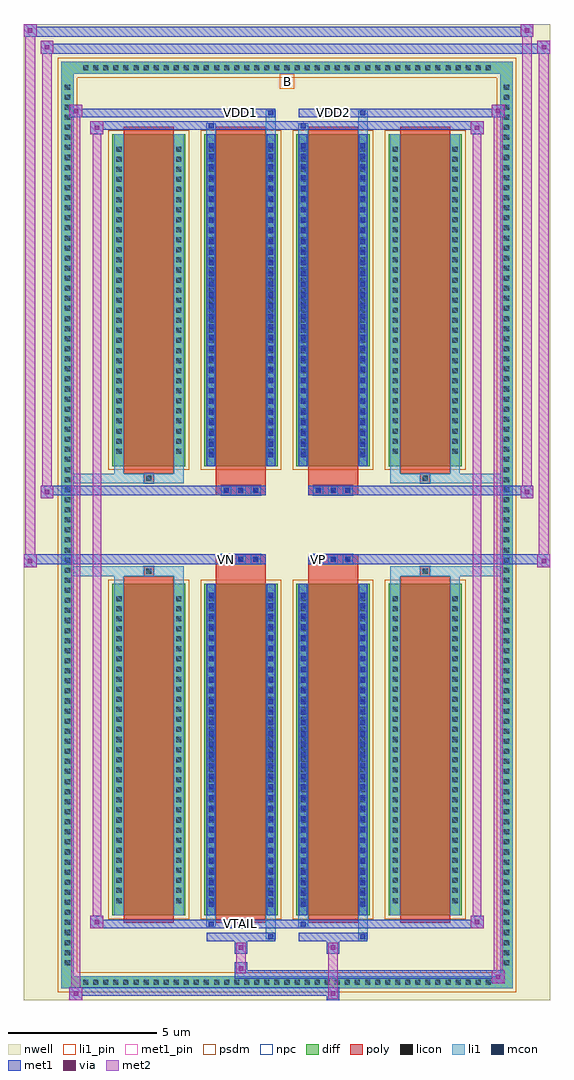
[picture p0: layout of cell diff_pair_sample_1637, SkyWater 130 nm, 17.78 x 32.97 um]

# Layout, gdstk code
import gdstk
lib = gdstk.Library(unit=1e-6, precision=5e-09)
def R(c, l, rs):  # rectangles x0, y0, x1, y1
    for r in rs: c.add(gdstk.rectangle(r[:2], r[2:], *l))
def A(c, l, x, y, w, h, nx, ny, dx, dy):  # array of equal rectangles
    R(c, l, [(x+i*dx, y+j*dy, x+i*dx+w, y+j*dy+h) for i in range(nx) for j in range(ny)])
def P(c, l, *ps):  # polygons
    for p in ps: c.add(gdstk.Polygon(p, *l))
nwell = (64, 20)
diff = (65, 20)
poly = (66, 20)
licon = (66, 44)
li1_pin = (67, 16)
li1 = (67, 20)
mcon = (67, 44)
met1_pin = (68, 16)
met1 = (68, 20)
via = (68, 44)
met2 = (69, 20)
psdm = (94, 20)
npc = (95, 20)

diff_pair_sample_1637 = lib.new_cell('diff_pair_sample_1637')
R(diff_pair_sample_1637, nwell, [(-8.89,-16.05,8.89,16.92), (-6.21,-14.24,-0.01,-0.8), (0.01,-14.24,6.21,-0.8), (-6.21,0.8,-0.01,14.24), (0.01,0.8,6.21,14.24)])
A(diff_pair_sample_1637, diff, -7.005, -15.65, 0.41, 0.41, 41, 2, 0.34, 30.89)
A(diff_pair_sample_1637, diff, -7.62, -14.995, 0.41, 0.41, 1, 88, 0, 0.34)
A(diff_pair_sample_1637, diff, 7.21, -14.995, 0.41, 0.41, 1, 88, 0, 0.34)
A(diff_pair_sample_1637, diff, -5.9, -13.195, 2.47, 11.21, 4, 2, 3.11, 15.18)
R(diff_pair_sample_1637, diff, [(-7.005,-15.65,7.005,-15.24), (-7.62,-14.995,-7.21,14.995), (7.21,-14.995,7.62,14.995), (-7.005,15.24,7.005,15.65)])
P(diff_pair_sample_1637, diff, [(7.62,15.65),(-7.62,15.65),(-7.62,-15.24),(-7.21,-15.24),(-7.21,15.24),(7.21,15.24),(7.21,-15.24),(-7.21,-15.24),(-7.62,-15.24),(-7.62,-15.65),(7.62,-15.65)])
A(diff_pair_sample_1637, poly, -5.51, -13.445, 1.69, 11.71, 4, 2, 3.11, 15.18)
A(diff_pair_sample_1637, poly, -2.22, -1.33, 0.33, 0.33, 3, 2, 0.5, 2.33)
A(diff_pair_sample_1637, poly, 0.89, -1.33, 0.33, 0.33, 3, 2, 0.5, 2.33)
R(diff_pair_sample_1637, poly, [(-4.83,-1.735,-4.5,-1.405), (-4.83,-1.735,-4.5,-1.405), (-2.4,-1.735,-0.71,-1.33), (0.71,-1.735,2.4,-1.33), (4.5,-1.735,4.83,-1.405), (4.5,-1.735,4.83,-1.405), (-2.4,-1.33,-0.71,-1), (0.71,-1.33,2.4,-1), (-2.4,1,-0.71,1.33), (0.71,1,2.4,1.33), (-2.4,1.33,-0.71,1.735), (0.71,1.33,2.4,1.735), (-4.83,1.405,-4.5,1.735), (-4.83,1.405,-4.5,1.735), (4.5,1.405,4.83,1.735), (4.5,1.405,4.83,1.735)])
A(diff_pair_sample_1637, licon, -6.885, -15.53, 0.17, 0.17, 41, 2, 0.34, 30.89)
A(diff_pair_sample_1637, licon, -7.5, -14.875, 0.17, 0.17, 1, 88, 0, 0.34)
A(diff_pair_sample_1637, licon, 7.33, -14.875, 0.17, 0.17, 1, 88, 0, 0.34)
A(diff_pair_sample_1637, licon, -5.76, -12.775, 0.17, 0.17, 1, 31, 0, 0.34)
A(diff_pair_sample_1637, licon, -3.74, -12.775, 0.17, 0.17, 1, 31, 0, 0.34)
A(diff_pair_sample_1637, licon, -2.65, -12.775, 0.17, 0.17, 1, 31, 0, 0.34)
A(diff_pair_sample_1637, licon, -0.63, -12.775, 0.17, 0.17, 1, 31, 0, 0.34)
A(diff_pair_sample_1637, licon, 0.46, -12.775, 0.17, 0.17, 1, 31, 0, 0.34)
A(diff_pair_sample_1637, licon, 2.48, -12.775, 0.17, 0.17, 1, 31, 0, 0.34)
A(diff_pair_sample_1637, licon, 3.57, -12.775, 0.17, 0.17, 1, 31, 0, 0.34)
A(diff_pair_sample_1637, licon, 5.59, -12.775, 0.17, 0.17, 1, 31, 0, 0.34)
A(diff_pair_sample_1637, licon, -2.14, -1.25, 0.17, 0.17, 3, 2, 0.5, 2.33)
A(diff_pair_sample_1637, licon, 0.97, -1.25, 0.17, 0.17, 3, 2, 0.5, 2.33)
A(diff_pair_sample_1637, licon, -5.76, 2.405, 0.17, 0.17, 1, 31, 0, 0.34)
A(diff_pair_sample_1637, licon, -3.74, 2.405, 0.17, 0.17, 1, 31, 0, 0.34)
A(diff_pair_sample_1637, licon, -2.65, 2.405, 0.17, 0.17, 1, 31, 0, 0.34)
A(diff_pair_sample_1637, licon, -0.63, 2.405, 0.17, 0.17, 1, 31, 0, 0.34)
A(diff_pair_sample_1637, licon, 0.46, 2.405, 0.17, 0.17, 1, 31, 0, 0.34)
A(diff_pair_sample_1637, licon, 2.48, 2.405, 0.17, 0.17, 1, 31, 0, 0.34)
A(diff_pair_sample_1637, licon, 3.57, 2.405, 0.17, 0.17, 1, 31, 0, 0.34)
A(diff_pair_sample_1637, licon, 5.59, 2.405, 0.17, 0.17, 1, 31, 0, 0.34)
R(diff_pair_sample_1637, licon, [(-4.75,-1.655,-4.58,-1.485), (4.58,-1.655,4.75,-1.485), (-4.75,1.485,-4.58,1.655), (4.58,1.485,4.75,1.655)])
R(diff_pair_sample_1637, li1_pin, [(-0.25,14.74,0.25,15.24)])
A(diff_pair_sample_1637, li1, -6.965, -15.61, 0.33, 0.33, 41, 2, 0.34, 30.89)
A(diff_pair_sample_1637, li1, -7.58, -14.955, 0.33, 0.33, 1, 88, 0, 0.34)
A(diff_pair_sample_1637, li1, 7.25, -14.955, 0.33, 0.33, 1, 88, 0, 0.34)
A(diff_pair_sample_1637, li1, -2.65, -12.895, 0.17, 0.17, 1, 30, 0, 0.36)
A(diff_pair_sample_1637, li1, -0.63, -12.895, 0.17, 0.17, 1, 30, 0, 0.36)
A(diff_pair_sample_1637, li1, 0.46, -12.895, 0.17, 0.17, 1, 30, 0, 0.36)
A(diff_pair_sample_1637, li1, 2.48, -12.895, 0.17, 0.17, 1, 30, 0, 0.36)
A(diff_pair_sample_1637, li1, -5.84, -12.855, 0.33, 0.33, 1, 31, 0, 0.34)
A(diff_pair_sample_1637, li1, -3.82, -12.855, 0.33, 0.33, 1, 31, 0, 0.34)
A(diff_pair_sample_1637, li1, -2.73, -12.855, 0.33, 0.33, 1, 31, 0, 0.34)
A(diff_pair_sample_1637, li1, -0.71, -12.855, 0.33, 0.33, 1, 31, 0, 0.34)
A(diff_pair_sample_1637, li1, 0.38, -12.855, 0.33, 0.33, 1, 31, 0, 0.34)
A(diff_pair_sample_1637, li1, 2.4, -12.855, 0.33, 0.33, 1, 31, 0, 0.34)
A(diff_pair_sample_1637, li1, 3.49, -12.855, 0.33, 0.33, 1, 31, 0, 0.34)
A(diff_pair_sample_1637, li1, 5.51, -12.855, 0.33, 0.33, 1, 31, 0, 0.34)
A(diff_pair_sample_1637, li1, -2.22, -1.33, 0.33, 0.33, 3, 2, 0.5, 2.33)
A(diff_pair_sample_1637, li1, 0.89, -1.33, 0.33, 0.33, 3, 2, 0.5, 2.33)
A(diff_pair_sample_1637, li1, -2.65, 2.285, 0.17, 0.17, 1, 30, 0, 0.36)
A(diff_pair_sample_1637, li1, -0.63, 2.285, 0.17, 0.17, 1, 30, 0, 0.36)
A(diff_pair_sample_1637, li1, 0.46, 2.285, 0.17, 0.17, 1, 30, 0, 0.36)
A(diff_pair_sample_1637, li1, 2.48, 2.285, 0.17, 0.17, 1, 30, 0, 0.36)
A(diff_pair_sample_1637, li1, -5.84, 2.325, 0.33, 0.33, 1, 31, 0, 0.34)
A(diff_pair_sample_1637, li1, -3.82, 2.325, 0.33, 0.33, 1, 31, 0, 0.34)
A(diff_pair_sample_1637, li1, -2.73, 2.325, 0.33, 0.33, 1, 31, 0, 0.34)
A(diff_pair_sample_1637, li1, -0.71, 2.325, 0.33, 0.33, 1, 31, 0, 0.34)
A(diff_pair_sample_1637, li1, 0.38, 2.325, 0.33, 0.33, 1, 31, 0, 0.34)
A(diff_pair_sample_1637, li1, 2.4, 2.325, 0.33, 0.33, 1, 31, 0, 0.34)
A(diff_pair_sample_1637, li1, 3.49, 2.325, 0.33, 0.33, 1, 31, 0, 0.34)
A(diff_pair_sample_1637, li1, 5.51, 2.325, 0.33, 0.33, 1, 31, 0, 0.34)
R(diff_pair_sample_1637, li1, [(-7.62,-15.65,-7.21,-15.24), (-7.62,-15.65,-7.21,-15.24), (-7.21,-15.65,7.21,-15.24), (7.21,-15.65,7.62,-15.24), (7.21,-15.65,7.62,-15.24), (-7.62,-15.24,-7.21,15.24), (7.21,-15.24,7.62,15.24), (-0.71,-14,-0.38,-13.195), (-0.63,-14,-0.46,-13.83), (2.4,-14,2.73,-13.195), (2.48,-14,2.65,-13.83), (-2.73,-13.57,-2.4,-13.195), (-2.65,-13.57,-2.48,-13.4), (0.38,-13.57,0.71,-13.195), (0.46,-13.57,0.63,-13.4), (-5.84,-13.195,-5.51,-1.985), (-3.82,-13.195,-3.49,-1.985), (-2.73,-13.195,-2.4,-1.985), (-0.71,-13.195,-0.38,-1.985), (0.38,-13.195,0.71,-1.985), (2.4,-13.195,2.73,-1.985), (3.49,-13.195,3.82,-1.985), (5.51,-13.195,5.84,-1.985), (-2.65,-12.895,-2.48,-2.285), (-0.63,-12.895,-0.46,-2.285), (0.46,-12.895,0.63,-2.285), (2.48,-12.895,2.65,-2.285), (-5.84,-1.985,-5.51,-1.405), (-3.82,-1.985,-3.49,-1.405), (3.49,-1.985,3.82,-1.405), (5.51,-1.985,5.84,-1.405), (-7.62,-1.735,-4.83,-1.405), (-5.84,-1.735,-4.83,-1.405), (-4.83,-1.735,-4.5,-1.405), (-4.5,-1.735,-3.49,-1.405), (3.49,-1.735,4.5,-1.405), (4.5,-1.735,4.83,-1.405), (4.5,-1.735,7.62,-1.405), (4.83,-1.735,5.84,-1.405), (-7.62,1.405,-4.83,1.735), (-5.84,1.405,-4.83,1.735), (-5.84,1.405,-5.51,1.985), (-4.83,1.405,-4.5,1.735), (-4.5,1.405,-3.49,1.735), (-3.82,1.405,-3.49,1.985), (3.49,1.405,4.5,1.735), (3.49,1.405,3.82,1.985), (4.5,1.405,4.83,1.735), (4.5,1.405,7.62,1.735), (4.83,1.405,5.84,1.735), (5.51,1.405,5.84,1.985), (-5.84,1.985,-5.51,13.195), (-3.82,1.985,-3.49,13.195), (-2.73,1.985,-2.4,13.195), (-0.71,1.985,-0.38,13.195), (0.38,1.985,0.71,13.195), (2.4,1.985,2.73,13.195), (3.49,1.985,3.82,13.195), (5.51,1.985,5.84,13.195), (-2.65,2.285,-2.48,12.895), (-0.63,2.285,-0.46,12.895), (0.46,2.285,0.63,12.895), (2.48,2.285,2.65,12.895), (-2.73,13.195,-2.4,13.57), (-0.71,13.195,-0.38,14), (0.38,13.195,0.71,13.57), (2.4,13.195,2.73,14), (-2.65,13.4,-2.48,13.57), (0.46,13.4,0.63,13.57), (-0.63,13.83,-0.46,14), (2.48,13.83,2.65,14), (-7.62,15.24,-7.21,15.65), (-7.62,15.24,-7.21,15.65), (-7.21,15.24,7.21,15.65), (7.21,15.24,7.62,15.65), (7.21,15.24,7.62,15.65)])
A(diff_pair_sample_1637, mcon, -2.65, -12.895, 0.17, 0.17, 1, 30, 0, 0.36)
A(diff_pair_sample_1637, mcon, -0.63, -12.895, 0.17, 0.17, 1, 30, 0, 0.36)
A(diff_pair_sample_1637, mcon, 0.46, -12.895, 0.17, 0.17, 1, 30, 0, 0.36)
A(diff_pair_sample_1637, mcon, 2.48, -12.895, 0.17, 0.17, 1, 30, 0, 0.36)
A(diff_pair_sample_1637, mcon, -2.14, -1.25, 0.17, 0.17, 3, 2, 0.5, 2.33)
A(diff_pair_sample_1637, mcon, 0.97, -1.25, 0.17, 0.17, 3, 2, 0.5, 2.33)
A(diff_pair_sample_1637, mcon, -2.65, 2.285, 0.17, 0.17, 1, 30, 0, 0.36)
A(diff_pair_sample_1637, mcon, -0.63, 2.285, 0.17, 0.17, 1, 30, 0, 0.36)
A(diff_pair_sample_1637, mcon, 0.46, 2.285, 0.17, 0.17, 1, 30, 0, 0.36)
A(diff_pair_sample_1637, mcon, 2.48, 2.285, 0.17, 0.17, 1, 30, 0, 0.36)
R(diff_pair_sample_1637, mcon, [(-0.63,-14,-0.46,-13.83), (2.48,-14,2.65,-13.83), (-2.65,-13.57,-2.48,-13.4), (0.46,-13.57,0.63,-13.4), (-2.65,13.4,-2.48,13.57), (0.46,13.4,0.63,13.57), (-0.63,13.83,-0.46,14), (2.48,13.83,2.65,14)])
R(diff_pair_sample_1637, met1_pin, [(-1.69,-13.61,-1.42,-13.34), (-2.19,-1.29,-1.92,-1.02), (0.92,-1.29,1.19,-1.02), (-1.69,13.79,-1.42,14.06), (1.42,13.79,1.69,14.06)])
A(diff_pair_sample_1637, met1, -2.71, -12.955, 0.29, 0.29, 1, 30, 0, 0.36)
A(diff_pair_sample_1637, met1, -0.69, -12.955, 0.29, 0.29, 1, 30, 0, 0.36)
A(diff_pair_sample_1637, met1, 0.4, -12.955, 0.29, 0.29, 1, 30, 0, 0.36)
A(diff_pair_sample_1637, met1, 2.42, -12.955, 0.29, 0.29, 1, 30, 0, 0.36)
A(diff_pair_sample_1637, met1, -2.2, -1.31, 0.29, 0.29, 3, 2, 0.5, 2.33)
A(diff_pair_sample_1637, met1, 0.91, -1.31, 0.29, 0.29, 3, 2, 0.5, 2.33)
A(diff_pair_sample_1637, met1, -2.71, 2.225, 0.29, 0.29, 1, 30, 0, 0.36)
A(diff_pair_sample_1637, met1, -0.69, 2.225, 0.29, 0.29, 1, 30, 0, 0.36)
A(diff_pair_sample_1637, met1, 0.4, 2.225, 0.29, 0.29, 1, 30, 0, 0.36)
A(diff_pair_sample_1637, met1, 2.42, 2.225, 0.29, 0.29, 1, 30, 0, 0.36)
R(diff_pair_sample_1637, met1, [(-7.35,-16.05,-6.92,-15.62), (1.34,-16.05,1.77,-15.62), (-7.35,-15.91,1.77,-15.62), (6.92,-15.48,7.35,-15.05), (-1.77,-15.34,7.35,-15.05), (-1.77,-15.2,-1.34,-14.77), (-1.77,-14.49,-1.34,-14.06), (1.34,-14.49,1.77,-14.06), (-2.71,-14.06,-0.4,-13.77), (-0.69,-14.06,-0.4,-13.77), (0.4,-14.06,2.71,-13.77), (2.42,-14.06,2.71,-13.77), (-6.64,-13.63,-6.21,-13.2), (-6.64,-13.63,-2.71,-13.34), (-2.71,-13.63,-2.42,-13.34), (-2.71,-13.63,-0.4,-13.34), (-0.4,-13.63,0.4,-13.34), (0.4,-13.63,0.69,-13.34), (0.4,-13.63,2.71,-13.34), (2.71,-13.63,6.64,-13.34), (6.21,-13.63,6.64,-13.2), (-2.71,-13.195,-2.42,-1.985), (-0.69,-13.195,-0.4,-1.985), (0.4,-13.195,0.69,-1.985), (2.42,-13.195,2.71,-1.985), (-8.89,-1.43,-8.46,-1), (8.46,-1.43,8.89,-1), (-8.89,-1.33,-0.71,-1), (-2.4,-1.33,-0.71,-1), (0.71,-1.33,2.4,-1), (0.71,-1.33,8.89,-1), (-8.32,0.9,-7.89,1.33), (7.89,0.9,8.32,1.33), (-8.32,1,-2.4,1.33), (-2.4,1,-0.71,1.33), (0.71,1,2.4,1.33), (2.4,1,8.32,1.33), (-2.71,1.985,-2.42,13.195), (-0.69,1.985,-0.4,13.195), (0.4,1.985,0.69,13.195), (2.42,1.985,2.71,13.195), (-6.64,13.2,-6.21,13.63), (6.21,13.2,6.64,13.63), (-6.64,13.34,-2.71,13.63), (-2.71,13.34,-2.42,13.63), (-2.71,13.34,-0.4,13.63), (-0.4,13.34,0.4,13.63), (0.4,13.34,0.69,13.63), (0.4,13.34,2.71,13.63), (2.71,13.34,6.64,13.63), (-7.35,13.77,-6.92,14.2), (-7.35,13.77,-2.71,14.06), (-2.71,13.77,-0.4,14.06), (-0.69,13.77,-0.4,14.06), (0.4,13.77,2.71,14.06), (2.42,13.77,2.71,14.06), (2.71,13.77,7.35,14.06), (6.92,13.77,7.35,14.2), (-8.32,15.92,-7.89,16.35), (-8.32,15.92,-6.21,16.25), (-6.21,15.92,6.21,16.25), (6.21,15.92,8.89,16.25), (8.46,15.92,8.89,16.35), (-8.89,16.49,-8.46,16.92), (-8.89,16.49,-6.21,16.82), (-6.21,16.49,6.21,16.82), (6.21,16.49,8.32,16.82), (7.89,16.49,8.32,16.92)])
R(diff_pair_sample_1637, via, [(-7.21,-15.91,-7.06,-15.76), (1.48,-15.91,1.63,-15.76), (7.06,-15.34,7.21,-15.19), (-1.63,-15.06,-1.48,-14.91), (-1.63,-14.35,-1.48,-14.2), (1.48,-14.35,1.63,-14.2), (-6.5,-13.49,-6.35,-13.34), (6.35,-13.49,6.5,-13.34), (-8.75,-1.29,-8.6,-1.14), (8.6,-1.29,8.75,-1.14), (-8.18,1.04,-8.03,1.19), (8.03,1.04,8.18,1.19), (-6.5,13.34,-6.35,13.49), (6.35,13.34,6.5,13.49), (-7.21,13.91,-7.06,14.06), (7.06,13.91,7.21,14.06), (-8.18,16.06,-8.03,16.21), (8.6,16.06,8.75,16.21), (-8.75,16.63,-8.6,16.78), (8.03,16.63,8.18,16.78)])
R(diff_pair_sample_1637, met2, [(-7.35,-16.05,-6.92,-15.62), (-7.28,-16.05,-6.99,14.2), (-6.99,-16.05,-6.92,-15.62), (-7.3,-16,-6.97,-15.67), (1.39,-16,1.72,-15.67), (1.39,-15.67,1.72,-14.44), (6.92,-15.48,7.35,-15.05), (6.99,-15.48,7.28,14.2), (7.28,-15.48,7.35,-15.05), (6.97,-15.43,7.3,-15.1), (-1.72,-15.15,-1.39,-14.82), (-1.72,-14.82,-1.39,-14.44), (-1.72,-14.44,-1.39,-14.11), (1.39,-14.44,1.72,-14.11), (-6.64,-13.63,-6.21,-13.2), (-6.57,-13.63,-6.28,13.63), (-6.28,-13.63,-6.21,-13.2), (6.21,-13.63,6.64,-13.2), (6.28,-13.63,6.57,13.63), (6.57,-13.63,6.64,-13.2), (-6.59,-13.58,-6.26,-13.25), (6.26,-13.58,6.59,-13.25), (-8.89,-1.43,-8.46,-1), (-8.84,-1.43,-8.51,16.92), (-8.51,-1.43,-8.46,-1), (8.46,-1.43,8.89,-1), (8.51,-1.43,8.84,16.35), (8.84,-1.43,8.89,-1), (-8.84,-1.38,-8.51,-1.05), (8.51,-1.38,8.84,-1.05), (-8.32,0.9,-7.89,1.33), (-8.27,0.9,-7.94,16.35), (-7.94,0.9,-7.89,1.33), (7.89,0.9,8.32,1.33), (7.94,0.9,8.27,16.92), (8.27,0.9,8.32,1.33), (-8.27,0.95,-7.94,1.28), (7.94,0.95,8.27,1.28), (-6.64,13.2,-6.21,13.63), (-6.28,13.2,-6.21,13.63), (6.21,13.2,6.64,13.63), (6.57,13.2,6.64,13.63), (-6.59,13.25,-6.26,13.58), (6.26,13.25,6.59,13.58), (-7.35,13.77,-6.92,14.2), (-6.99,13.77,-6.92,14.2), (6.92,13.77,7.35,14.2), (7.28,13.77,7.35,14.2), (-7.3,13.82,-6.97,14.15), (6.97,13.82,7.3,14.15), (-8.32,15.92,-7.89,16.35), (-7.94,15.92,-7.89,16.35), (8.46,15.92,8.89,16.35), (8.84,15.92,8.89,16.35), (-8.27,15.97,-7.94,16.3), (8.51,15.97,8.84,16.3), (-8.89,16.49,-8.46,16.92), (-8.51,16.49,-8.46,16.92), (7.89,16.49,8.32,16.92), (8.27,16.49,8.32,16.92), (-8.84,16.54,-8.51,16.87), (7.94,16.54,8.27,16.87)])
A(diff_pair_sample_1637, psdm, -6.03, -13.325, 2.73, 11.47, 4, 2, 3.11, 15.18)
P(diff_pair_sample_1637, psdm, [(7.75,15.78),(-7.75,15.78),(-7.75,-15.11),(-7.08,-15.11),(-7.08,15.11),(7.08,15.11),(7.08,-15.11),(-7.08,-15.11),(-7.75,-15.11),(-7.75,-15.78),(7.75,-15.78)])
A(diff_pair_sample_1637, npc, -2.24, -1.35, 0.37, 0.37, 3, 2, 0.5, 2.33)
A(diff_pair_sample_1637, npc, 0.87, -1.35, 0.37, 0.37, 3, 2, 0.5, 2.33)
R(diff_pair_sample_1637, npc, [(-4.85,-1.755,-4.48,-1.385), (4.48,-1.755,4.85,-1.385), (-2.24,-1.35,-1.37,-0.98), (-2.24,-1.35,-1.37,-0.98), (-1.74,-1.35,-0.87,-0.98), (-1.74,-1.35,-0.87,-0.98), (0.87,-1.35,1.74,-0.98), (0.87,-1.35,1.74,-0.98), (1.37,-1.35,2.24,-0.98), (1.37,-1.35,2.24,-0.98), (-2.24,0.98,-1.37,1.35), (-2.24,0.98,-1.37,1.35), (-1.74,0.98,-0.87,1.35), (-1.74,0.98,-0.87,1.35), (0.87,0.98,1.74,1.35), (0.87,0.98,1.74,1.35), (1.37,0.98,2.24,1.35), (1.37,0.98,2.24,1.35), (-4.85,1.385,-4.48,1.755), (4.48,1.385,4.85,1.755)])
diff_pair_sample_1637.add(gdstk.Label('VTAIL', (-1.555,-13.475), layer=68, texttype=5))
diff_pair_sample_1637.add(gdstk.Label('VN', (-2.055,-1.155), layer=68, texttype=5))
diff_pair_sample_1637.add(gdstk.Label('VP', (1.055,-1.155), layer=68, texttype=5))
diff_pair_sample_1637.add(gdstk.Label('B', (0,14.99), layer=67, texttype=5))
diff_pair_sample_1637.add(gdstk.Label('VDD2', (1.555,13.925), layer=68, texttype=5))
diff_pair_sample_1637.add(gdstk.Label('VDD1', (-1.555,13.925), layer=68, texttype=5))

lib.write_gds('diff_pair_sample_1637.gds')
